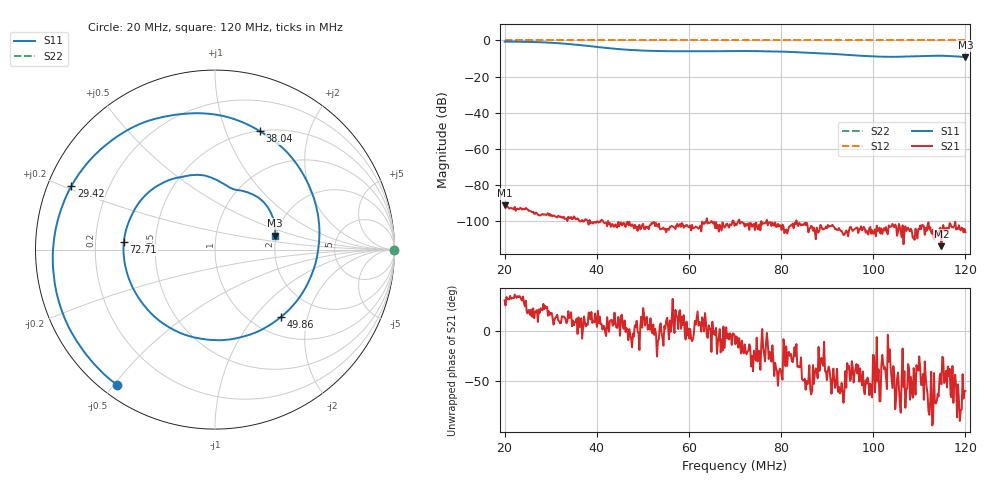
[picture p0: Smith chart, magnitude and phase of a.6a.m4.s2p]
! Anritsu VNA Master:  Model: MS2036C/10/77
! SN:  1601066
! /bd0/18may07/256.ew.m4.s2p
! Existing Calibration Information:
! TYPE:  Current Settings,  Active Cal Settings
! TIME:  05/07/2018 11:56:38 AM,  05/07/2018 11:47:21 AM
! INTERNAL TEMP:  53.0 C,  52.0 C
! # POINTS:  500,  500
! START FREQ:  20.000 MHz,  20.000 MHz
! STOP FREQ:  120.000 MHz,  120.000 MHz
! SOURCE POWER:  High,  High
! IFBW:  50 Hz,  50 Hz
! AVG FACTOR:  1 ,  1
! REF PLANE 1:  0 mm,  0 mm
! REF PLANE 2:  0 mm,  0 mm
! CAL TYPE:  Full S11,  Full S11
! CAL METHOD:  SOLT,  SOLT
! CAL LINE TYPE:  Coax,  Coax
! DUT PORT 1:  K-Conn(F),  K-Conn(F)
! DUT PORT 2:  K-Conn(F),  K-Conn(F)
! CAL STATUS:  OK: Accuracy High,  --
# GHZ S DB R 50.0
! FREQ.GHZ  S11DB  S11A  S21DB  S21A  S12DB  S12A  S22DB  S22A
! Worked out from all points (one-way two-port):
!   500 points, 20 MHz to 120 MHz, reference 50 ohm
!   highest |S21| = -91.05 dB at 20 MHz (marker M1); lowest = -113.7 dB at 114.8 MHz (marker M2)
!   lowest |S11| = -9.3 dB at 120 MHz (marker M3), VSWR 2.04, Z = 98.1 + j17.4 ohm
!   |S11| at or under -10 dB: nowhere
!   |S22| runs from 0.0 to 0.0 dB; largest |S21 - S12| = 1
!   S11 on the Smith chart (normalised r, x): 20 MHz: 0.05, -0.51; 29.42 MHz: 0.07, +0.21; 38.04 MHz: 0.50, +1.32; 49.86 MHz: 1.33, -1.39; 72.71 MHz: 0.33, +0.04; 120 MHz: 1.96, +0.35
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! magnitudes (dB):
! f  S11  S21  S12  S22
! 20 MHz  -0.6  -91.1  0.0  0.0
! 25.01 MHz  -0.8  -93.4  0.0  0.0
! 29.42 MHz  -1.2  -95.5  0.0  0.0
! 33.03 MHz  -1.8  -98.7  0.0  0.0
! 36.83 MHz  -2.7  -99.3  0.0  0.0
! 38.04 MHz  -3.0  -99.9  0.0  0.0
! 44.65 MHz  -4.8  -100.4  0.0  0.0
! 49.86 MHz  -5.6  -102.1  0.0  0.0
! 53.47 MHz  -5.9  -101.2  0.0  0.0
! 57.07 MHz  -6.0  -104.3  0.0  0.0
! 70.1 MHz  -5.9  -101.1  0.0  0.0
! 72.71 MHz  -5.9  -101.4  0.0  0.0
! 80.12 MHz  -6.2  -104.8  0.0  0.0
! 86.73 MHz  -6.9  -102.9  0.0  0.0
! 92.14 MHz  -7.6  -104.8  0.0  0.0
! 98.36 MHz  -8.6  -106.2  0.0  0.0
! 103.4 MHz  -9.1  -102.2  0.0  0.0
! 105.4 MHz  -9.0  -105.8  0.0  0.0
! 112.4 MHz  -8.5  -103.3  0.0  0.0
! 114.8 MHz  -8.5  -113.7  0.0  0.0
! 117.6 MHz  -8.7  -102.5  0.0  0.0
! 120 MHz  -9.3  -106.0  0.0  0.0
